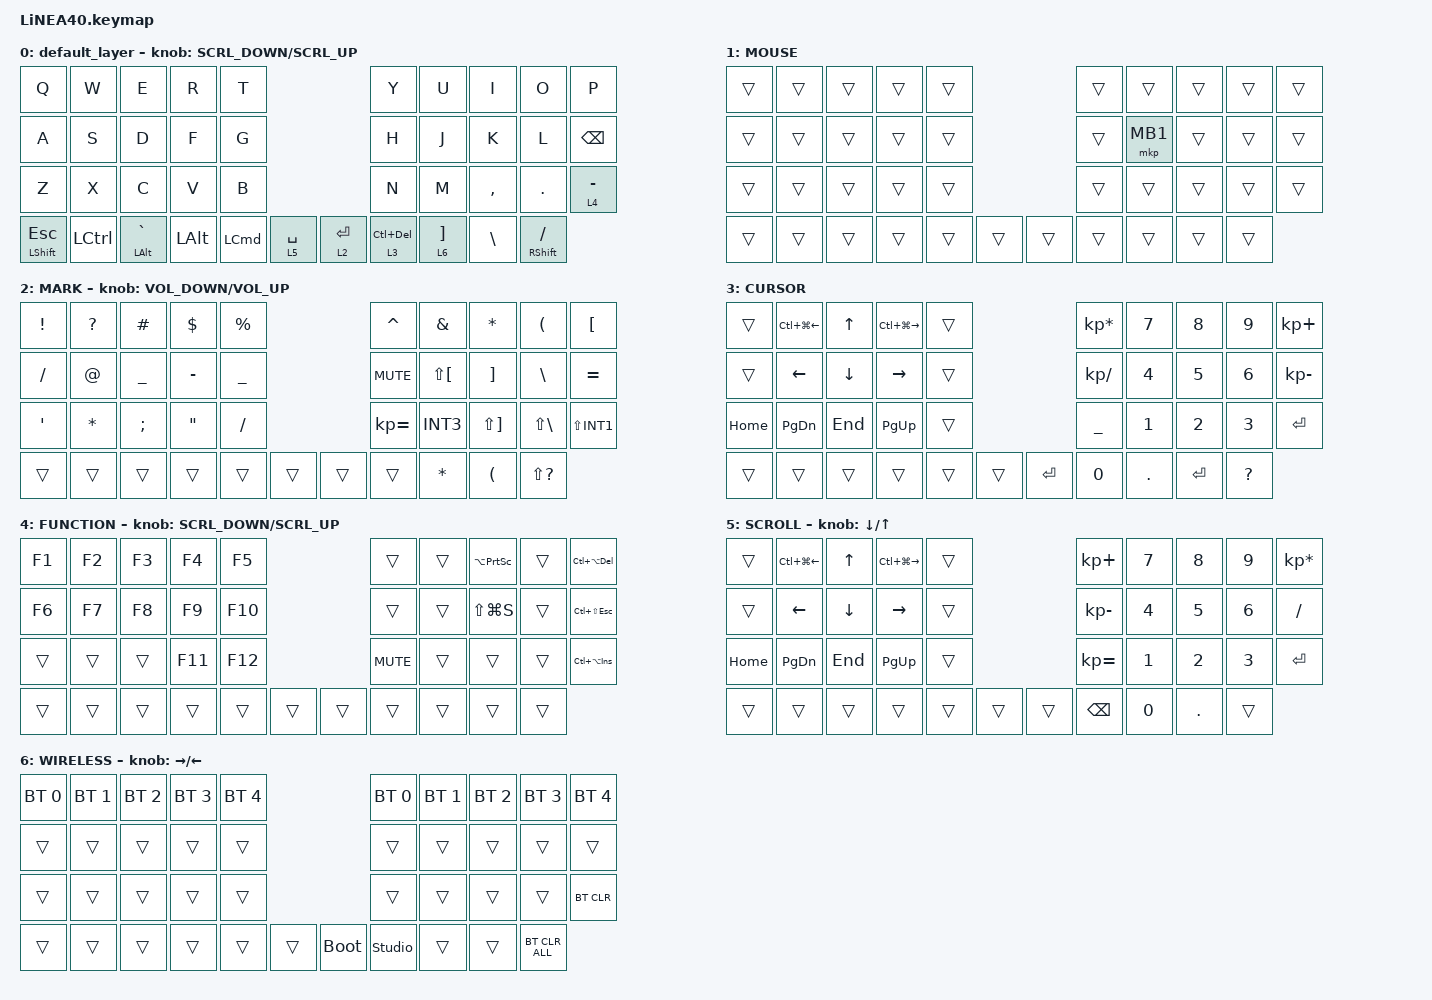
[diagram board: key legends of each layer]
#define ZMK_POINTING_DEFAULT_SCRL_VAL 150

#include <dt-bindings/zmk/input_transform.h>
#include <input/processors.dtsi>
#include <zephyr/dt-bindings/input/input-event-codes.h>
#include <behaviors.dtsi>
#include <dt-bindings/zmk/bt.h>
#include <dt-bindings/zmk/keys.h>
#include <dt-bindings/zmk/pointing.h>

#define ZMK_STUDIO_LOCKING ZMK_STUDIO_LOCKING_DISABLED
#define MOUSE 1
#define MARK 2
#define CURSOR 3
#define FUNCTION 4
#define SCROLL 5
#define WIRELESS 6

//mouse cursol

&mmv {
    delay-ms = <20>;
    trigger-period-ms = <5>;
    time-to-max-speed-ms = <100>;
    acceleration-exponent = <2>;
};

//mouse scroll

&msc {
    delay-ms = <3>;
    trigger-period-ms = <3>;
    time-to-max-speed-ms = <100>;
    acceleration-exponent = <0>;
};

/ {
    input_processors {
        zip_wheel_scaler: zip_wheel_scaler {
            compatible = "zmk,input-processor-scaler";
            #input-processor-cells = <2>;
            type = <INPUT_EV_REL>;
            codes = <INPUT_REL_WHEEL>;
            track-remainders;
        };
    };
};

&msc_input_listener {
    speed_up {
        layers = <FUNCTION>;
        input-processors = <&zip_wheel_scaler 3 1>; //スクロールを3倍速にする
    };
};

&trackball_listener {
    scroller {
        layers = <SCROLL>;
        input-processors =
            <&zip_xy_transform INPUT_TRANSFORM_Y_INVERT>,
            //スクロール方向を逆転,,,
            <&zip_xy_to_scroll_mapper>;
    };
};

/ {
    combos {
        compatible = "zmk,combos";

        ZenkakuHankaku {
            bindings = <&kp GRAVE>;
            key-positions = <11 12>;
        };

        DeleteKey {
            bindings = <&kp DEL>;
            key-positions = <7 8>;
        };

        InsertKey {
            bindings = <&kp INS>;
            key-positions = <6 7>;
        };

        CenterClick {
            bindings = <&mkp MB3>;
            key-positions = <17 16>;
        };

        RightClick {
            bindings = <&mkp MB2>;
            key-positions = <18 17>;
        };

        PrevClick {
            bindings = <&mkp MB4>;
            key-positions = <27 28>;
        };

        ClickNext {
            bindings = <&mkp MB5>;
            key-positions = <26 27>;
        };

        brackets {
            bindings = <&Brackets>;
            key-positions = <0 1>;
        };

        parenthesis {
            bindings = <&Parenthesis>;
            key-positions = <10 11>;
        };

        anglebrackets {
            bindings = <&AngleBrackets>;
            key-positions = <20 21>;
        };

        braces {
            bindings = <&Braces>;
            key-positions = <30 31>;
        };
    };

    behaviors {
        re_kp: sensor_rotate_kp {
            compatible = "zmk,behavior-sensor-rotate-var";
            #sensor-binding-cells = <2>;
            bindings = <&kp>, <&kp>;
        };

        mouse_scrl: mouse_wheel_scrl {
            compatible = "zmk,behavior-sensor-rotate-var";
            #sensor-binding-cells = <2>;
            bindings = <&msc>, <&msc>;

            tap-ms = <20>;
        };
    };

    macros {
        Brackets: Brackets {
            compatible = "zmk,behavior-macro";
            #binding-cells = <0>;
            bindings = <&kp LEFT_BRACKET &kp RIGHT_BRACKET>;
            label = "BRACKETS";
        };

        Parenthesis: Parenthesis {
            compatible = "zmk,behavior-macro";
            #binding-cells = <0>;
            bindings = <&kp LEFT_PARENTHESIS &kp RIGHT_PARENTHESIS>;
            label = "PARENTHESIS";
        };

        Braces: Braces {
            compatible = "zmk,behavior-macro";
            #binding-cells = <0>;
            bindings = <&kp LEFT_BRACE &kp RIGHT_BRACE>;
            label = "BRACES";
        };

        AngleBrackets: AngleBrackets {
            compatible = "zmk,behavior-macro";
            #binding-cells = <0>;
            bindings = <&kp LESS_THAN &kp GREATER_THAN>;
            label = "ANGLEBRACKETS";
        };
    };

    keymap {
        compatible = "zmk,keymap";

        default_layer {
            bindings = <
&kp Q               &kp W             &kp E               &kp R         &kp T                                         &kp Y          &kp U  &kp I                &kp O          &kp P
&kp A               &kp S             &kp D               &kp F         &kp G                                         &kp H          &kp J  &kp K                &kp L          &kp BACKSPACE
&kp Z               &kp X             &kp C               &kp V         &kp B                                         &kp N          &kp M  &kp COMMA            &kp DOT        &lt 4 MINUS
&mt LEFT_SHIFT ESC  &kp LEFT_CONTROL  &mt LEFT_ALT GRAVE  &kp LEFT_ALT  &kp LEFT_COMMAND  &lt 5 SPACE    &lt 2 ENTER  &lt 3 LC(DEL)         &lt 6 RIGHT_BRACKET  &kp BACKSLASH  &mt RIGHT_SHIFT SLASH
            >;

            sensor-bindings = <&mouse_scrl SCRL_DOWN SCRL_UP>;
        };

        //1

        MOUSE {
            bindings = <
&trans  &trans  &trans  &trans  &trans                    &trans  &trans    &trans  &trans  &trans
&trans  &trans  &trans  &trans  &trans                    &trans  &mkp MB1  &trans  &trans  &trans
&trans  &trans  &trans  &trans  &trans                    &trans  &trans    &trans  &trans  &trans
&trans  &trans  &trans  &trans  &trans  &trans    &trans  &trans            &trans  &trans  &trans
            >;
        };

        //2

        MARK {
            bindings = <
&kp EXCLAMATION   &kp QUESTION  &kp HASH   &kp DOLLAR         &kp PERCENT                    &kp CARET     &kp AMPERSAND  &kp ASTERISK           &kp LEFT_PARENTHESIS  &kp LBKT
&kp SLASH         &kp AT        &kp UNDER  &kp MINUS          &kp UNDER                      &kp C_MUTE    &kp LS(LBKT)   &kp RIGHT_BRACKET      &kp BACKSLASH         &kp EQUAL
&kp SINGLE_QUOTE  &kp ASTRK     &kp SEMI   &kp DOUBLE_QUOTES  &kp SLASH                      &kp KP_EQUAL  &kp INT3       &kp LS(RIGHT_BRACKET)  &kp LS(BACKSLASH)     &kp LS(INT1)
&trans            &trans        &trans     &trans             &trans       &trans    &trans  &trans                       &kp ASTERISK           &kp LEFT_PARENTHESIS  &kp LS(QUESTION)
            >;

            sensor-bindings = <&re_kp C_VOLUME_DOWN C_VOLUME_UP>;
        };

        //3

        CURSOR {
            bindings = <
&trans    &kp LC(LG(LEFT_ARROW))  &kp UP_ARROW  &kp LC(LG(RIGHT_ARROW))  &trans                       &kp KP_MULTIPLY  &kp NUMBER_7  &kp NUMBER_8  &kp NUMBER_9  &kp KP_PLUS
&trans    &kp LEFT_ARROW          &kp DOWN      &kp RIGHT_ARROW          &trans                       &kp KP_SLASH     &kp NUMBER_4  &kp NUMBER_5  &kp NUMBER_6  &kp KP_MINUS
&kp HOME  &kp PAGE_DOWN           &kp END       &kp PAGE_UP              &trans                       &kp UNDER        &kp NUMBER_1  &kp NUMBER_2  &kp NUMBER_3  &kp ENTER
&trans    &trans                  &trans        &trans                   &trans  &trans    &kp ENTER  &kp NUMBER_0                   &kp DOT       &kp ENTER     &kp QUESTION
            >;
        };

        //4

        FUNCTION {
            bindings = <
&kp F1  &kp F2  &kp F3  &kp F4   &kp F5                     &trans      &trans  &kp LA(PRINTSCREEN)  &trans  &kp LC(LA(DELETE))
&kp F6  &kp F7  &kp F8  &kp F9   &kp F10                    &trans      &trans  &kp LS(LG(S))        &trans  &kp LC(LS(ESCAPE))
&trans  &trans  &trans  &kp F11  &kp F12                    &kp C_MUTE  &trans  &trans               &trans  &kp LC(LA(INS))
&trans  &trans  &trans  &trans   &trans   &trans    &trans  &trans              &trans               &trans  &trans
            >;

            sensor-bindings = <&mouse_scrl SCRL_DOWN SCRL_UP>;
        };

        //5

        SCROLL {
            bindings = <
&trans    &kp LC(LG(LEFT_ARROW))  &kp UP_ARROW  &kp LC(LG(RIGHT_ARROW))  &trans                    &kp KP_PLUS    &kp NUMBER_7  &kp NUMBER_8  &kp NUMBER_9  &kp KP_MULTIPLY
&trans    &kp LEFT_ARROW          &kp DOWN      &kp RIGHT_ARROW          &trans                    &kp KP_MINUS   &kp NUMBER_4  &kp NUMBER_5  &kp NUMBER_6  &kp SLASH
&kp HOME  &kp PAGE_DOWN           &kp END       &kp PAGE_UP              &trans                    &kp KP_EQUAL   &kp NUMBER_1  &kp NUMBER_2  &kp NUMBER_3  &kp ENTER
&trans    &trans                  &trans        &trans                   &trans  &trans    &trans  &kp BACKSPACE                &kp NUMBER_0  &kp DOT       &trans
            >;

            sensor-bindings = <&inc_dec_kp DOWN_ARROW UP_ARROW>;
        };

        //6

        WIRELESS {
            bindings = <
&bt BT_SEL 0  &bt BT_SEL 1  &bt BT_SEL 2  &bt BT_SEL 3  &bt BT_SEL 4                         &bt BT_SEL 0    &bt BT_SEL 1  &bt BT_SEL 2  &bt BT_SEL 3  &bt BT_SEL 4
&trans        &trans        &trans        &trans        &trans                               &trans          &trans        &trans        &trans        &trans
&trans        &trans        &trans        &trans        &trans                               &trans          &trans        &trans        &trans        &bt BT_CLR
&trans        &trans        &trans        &trans        &trans        &trans    &bootloader  &studio_unlock                &trans        &trans        &bt BT_CLR_ALL
            >;

            sensor-bindings = <&inc_dec_kp RIGHT_ARROW LEFT_ARROW>;
        };
    };
};
